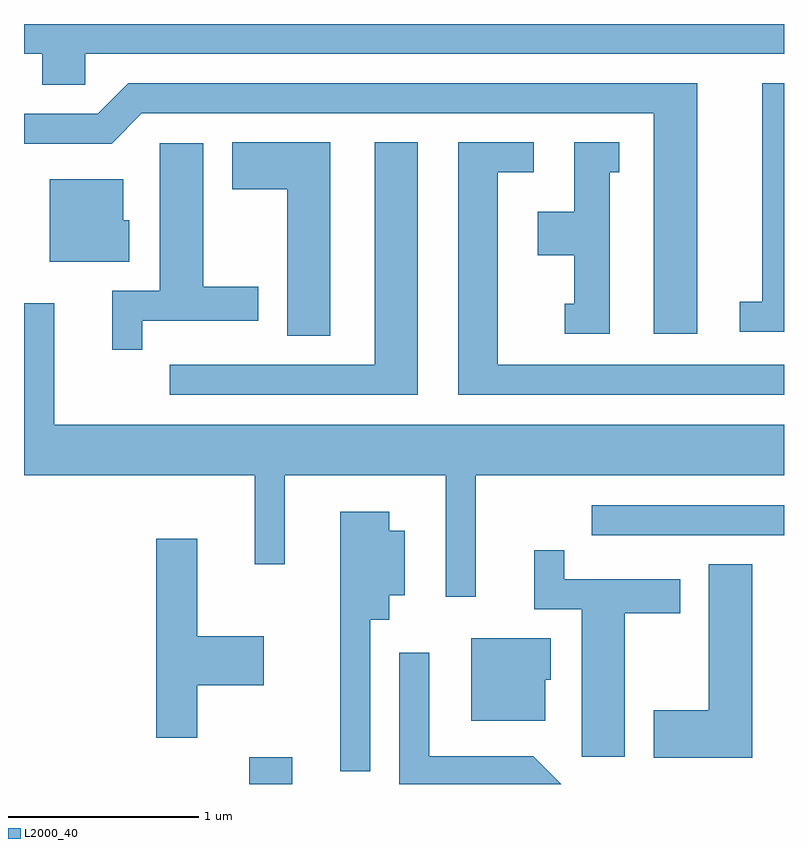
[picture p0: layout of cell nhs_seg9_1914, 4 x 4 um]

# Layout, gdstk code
import gdstk
lib = gdstk.Library(unit=1e-6, precision=1e-09)
def R(c, l, rs):  # rectangles x0, y0, x1, y1
    for r in rs: c.add(gdstk.rectangle(r[:2], r[2:], *l))
def P(c, l, *ps):  # polygons
    for p in ps: c.add(gdstk.Polygon(p, *l))
L2000_40 = (2000, 40)

nhs_seg9_1914 = lib.new_cell('nhs_seg9_1914')
R(nhs_seg9_1914, L2000_40, [(242.796,1972.432,243.024,1972.574), (244.598,1973.741,245.611,1973.899)])
P(nhs_seg9_1914, L2000_40, [(241.934,1976.276),(245.611,1976.276),(245.611,1976.432),(241.611,1976.432),(241.611,1976.276),(241.706,1976.276),(241.706,1976.111),(241.934,1976.111)],
  [(245.611,1976.119),(245.496,1976.119),(245.496,1974.969),(245.378,1974.969),(245.378,1974.811),(245.611,1974.811)],
  [(245.154,1976.119),(242.159,1976.119),(241.999,1975.959),(241.611,1975.959),(241.611,1975.801),(242.072,1975.801),(242.232,1975.961),(244.926,1975.961),(244.926,1974.801),(245.154,1974.801)],
  [(245.611,1974.639),(244.104,1974.639),(244.104,1975.651),(244.293,1975.651),(244.293,1975.809),(243.896,1975.809),(243.896,1974.481),(245.611,1974.481)],
  [(243.224,1975.809),(242.706,1975.809),(242.706,1975.561),(242.996,1975.561),(242.996,1974.791),(243.224,1974.791)],
  [(243.684,1975.809),(243.456,1975.809),(243.456,1974.639),(242.378,1974.639),(242.378,1974.481),(243.684,1974.481)],
  [(244.694,1975.651),(244.743,1975.651),(244.743,1975.809),(244.506,1975.809),(244.506,1975.444),(244.316,1975.444),(244.316,1975.216),(244.506,1975.216),(244.506,1974.959),(244.458,1974.959),(244.458,1974.801),(244.694,1974.801)],
  [(242.234,1974.871),(242.844,1974.871),(242.844,1975.049),(242.554,1975.049),(242.554,1975.804),(242.326,1975.804),(242.326,1975.029),(242.076,1975.029),(242.076,1974.718),(242.234,1974.718)],
  [(242.164,1975.399),(242.134,1975.399),(242.134,1975.614),(241.746,1975.614),(241.746,1975.181),(242.164,1975.181)],
  [(243.989,1974.056),(245.611,1974.056),(245.611,1974.324),(241.769,1974.324),(241.769,1974.963),(241.611,1974.963),(241.611,1974.056),(242.826,1974.056),(242.826,1973.588),(242.984,1973.588),(242.984,1974.056),(243.831,1974.056),(243.831,1973.418),(243.989,1973.418)],
  [(243.434,1973.296),(243.534,1973.296),(243.534,1973.426),(243.614,1973.426),(243.614,1973.764),(243.534,1973.764),(243.534,1973.864),(243.276,1973.864),(243.276,1972.498),(243.434,1972.498)],
  [(242.524,1972.951),(242.874,1972.951),(242.874,1973.209),(242.524,1973.209),(242.524,1973.724),(242.306,1973.724),(242.306,1972.676),(242.524,1972.676)],
  [(244.774,1973.331),(245.064,1973.331),(245.064,1973.509),(244.454,1973.509),(244.454,1973.663),(244.296,1973.663),(244.296,1973.351),(244.546,1973.351),(244.546,1972.576),(244.774,1972.576)],
  [(245.444,1973.589),(245.216,1973.589),(245.216,1972.819),(244.926,1972.819),(244.926,1972.571),(245.444,1972.571)],
  [(244.354,1972.981),(244.384,1972.981),(244.384,1973.199),(243.966,1973.199),(243.966,1972.766),(244.354,1972.766)],
  [(244.292,1972.579),(243.744,1972.579),(243.744,1973.123),(243.586,1973.123),(243.586,1972.432),(244.439,1972.432)])

lib.write_gds('nhs_seg9_1914.gds')
